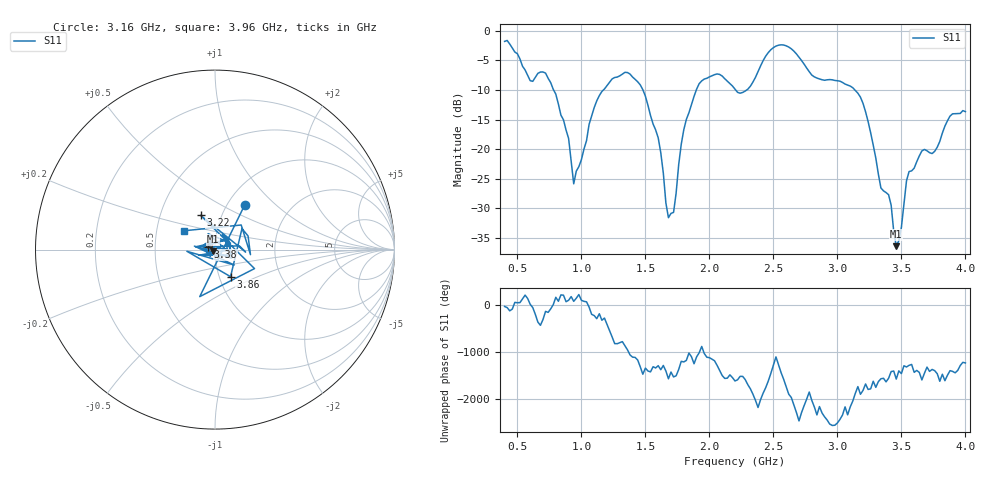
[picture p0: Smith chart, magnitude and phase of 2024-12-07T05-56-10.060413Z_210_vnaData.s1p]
!Created with skrf (http://scikit-rf.org).
# Hz S RI R 50.0
!freq ReS11 ImS11
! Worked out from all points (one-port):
!   181 points, 400 MHz to 4 GHz, reference 50 ohm
!   lowest |S11| = -36.4 dB at 3.46 GHz (marker M1), VSWR 1.03, Z = 48.8 - j0.909 ohm
!   |S11| at or under -10 dB: 783.2 MHz to 1.171 GHz (388 MHz wide, 39.7 % of centre); 1.481 GHz to 1.898 GHz (416.4 MHz wide, 24.7 % of centre); 3.137 GHz to end of sweep (the widest 3 of 4)
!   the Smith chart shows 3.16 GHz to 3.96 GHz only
!   S11 on the Smith chart (normalised r, x): 3.16 GHz: 1.20, +0.65; 3.22 GHz: 0.79, +0.32; 3.38 GHz: 0.92, +0.03; 3.86 GHz: 1.13, -0.35; 3.96 GHz: 0.69, +0.15
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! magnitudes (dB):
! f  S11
! 400 MHz  -1.8
! 600 MHz  -8.4
! 720 MHz  -7.1
! 860 MHz  -15.0
! 940 MHz  -25.8
! 1.12 GHz  -11.8
! 1.3 GHz  -7.6
! 1.5 GHz  -11.0
! 1.6 GHz  -18.1
! 1.68 GHz  -31.6
! 1.72 GHz  -30.7
! 1.76 GHz  -22.6
! 1.82 GHz  -15.0
! 1.92 GHz  -8.9
! 2.2 GHz  -9.8
! 2.5 GHz  -2.8
! 2.66 GHz  -3.4
! 3.1 GHz  -9.3
! 3.16 GHz  -10.5
! 3.22 GHz  -13.7
! 3.34 GHz  -26.6
! 3.38 GHz  -27.3
! 3.42 GHz  -29.5
! 3.46 GHz  -36.4
! 3.56 GHz  -23.8
! 3.86 GHz  -15.2
! 3.96 GHz  -14.0
! 4 GHz  -13.6
